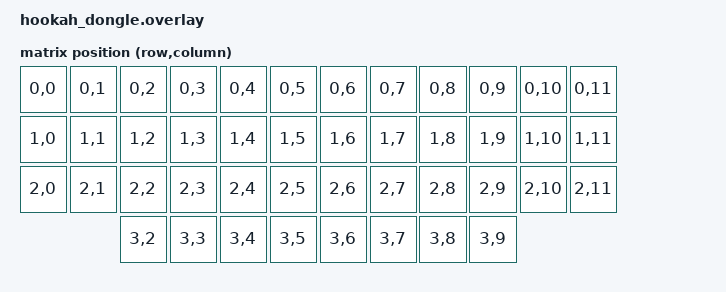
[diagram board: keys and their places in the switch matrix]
#include "hookah.dtsi"

/ {
    chosen {
        // zmk,kscan = &mock_kscan;
        zmk,physical-layout = &hookah_layout;
        zephyr,display = &oled;
    };

    mock_kscan: mock_kscan0 {
        compatible = "zmk,kscan-mock";
        columns = <0>;
        rows = <0>;
        events = <0>;
    };
    
    // Copied from hookah.dtsi
    default_transform: keymap_transform_0 {
        compatible = "zmk,matrix-transform";
        columns = <12>;
        rows = <4>;
        map = <
RC(0,0) RC(0,1) RC(0,2) RC(0,3) RC(0,4) RC(0,5)  RC(0,6) RC(0,7) RC(0,8) RC(0,9) RC(0,10) RC(0,11)
RC(1,0) RC(1,1) RC(1,2) RC(1,3) RC(1,4) RC(1,5)  RC(1,6) RC(1,7) RC(1,8) RC(1,9) RC(1,10) RC(1,11)
RC(2,0) RC(2,1) RC(2,2) RC(2,3) RC(2,4) RC(2,5)  RC(2,6) RC(2,7) RC(2,8) RC(2,9) RC(2,10) RC(2,11)
                RC(3,2) RC(3,3) RC(3,4) RC(3,5)  RC(3,6) RC(3,7) RC(3,8) RC(3,9)
        >;
    };
    
    
};

&hookah_layout {
    transform = <&default_transform>;
    kscan = <&mock_kscan>;
};

/delete-node/ &kscan0;   // only required if the dongle uses a 
//                                 // different board than the peripherals
//                                 // Since we do that, we have to delete the node.

&pro_micro_i2c {
    status = "okay";
    
    oled: ssd1306@3c {
        compatible = "solomon,ssd1306fb";
        reg = <0x3c>;
        width = <128>;
        height = <64>;
        segment-offset = <0>;
        page-offset = <0>;
        display-offset = <0>;
        multiplex-ratio = <63>;
        segment-remap;
        com-invdir;
        inversion-on;
        prechargep = <0x22>;
    };
};

/{
    vtpoint: virtual_input_tp {
            compatible = "zmk,virtual-input";
    };
    input_relay_config_105 {
		compatible = "zmk,split-peripheral-input-relay";
		relay-channel = <105>;
		device = <&vtpoint>;
	};
};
